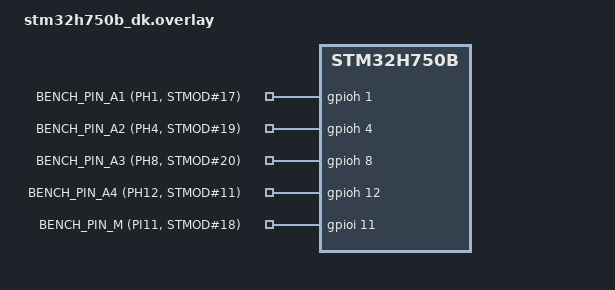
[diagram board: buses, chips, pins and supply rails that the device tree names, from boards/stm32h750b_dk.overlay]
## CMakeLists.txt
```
# SPDX-License-Identifier: Apache-2.0
#
# RTOS Benchmark - Zephyr port build script.
#
# Build profiles (ADR-011):
#   west build -b stm32h750b_dk benchmark_zephyr -d build/fair_perf \
#              --pristine -- -DEXTRA_CONF_FILE=conf/fair_perf.conf
#
#   west build -b stm32h750b_dk benchmark_zephyr -d build/realistic_tickless \
#              --pristine -- -DEXTRA_CONF_FILE=conf/realistic_tickless.conf

cmake_minimum_required(VERSION 3.20.0)

find_package(Zephyr REQUIRED HINTS $ENV{ZEPHYR_BASE})
project(benchmark_zephyr C)

# ---- Profile -> compile-time macro injection (ADR-011) --------------
if(CONFIG_BENCH_PROFILE_FAIR_PERF)
    set(BENCH_PROFILE_DEFINE BENCH_PROFILE_FAIR_PERF=1)
elseif(CONFIG_BENCH_PROFILE_REALISTIC_TICKLESS)
    set(BENCH_PROFILE_DEFINE BENCH_PROFILE_REALISTIC_TICKLESS=1)
elseif(CONFIG_BENCH_PROFILE_DEBUG_DEV)
    set(BENCH_PROFILE_DEFINE BENCH_PROFILE_DEBUG_DEV=1)
else()
    message(FATAL_ERROR
        "No build profile selected. Pass "
        "-DEXTRA_CONF_FILE=conf/fair_perf.conf, "
        "conf/realistic_tickless.conf or conf/debug_dev.conf "
        "to west build.")
endif()

# ---- Sources --------------------------------------------------------
set(REPO_ROOT ${CMAKE_CURRENT_SOURCE_DIR}/../..)

target_sources(app PRIVATE
    src/main.c
    src/test_ctxsw_irq.c
    src/test_thread_handoff.c
    src/test_mutex_uncontended.c
    src/test_mutex_pi.c
    # ADR-024: z_arm_on_enter_cpu_idle() suppresses WFI in idle for
    # fair_perf and debug_dev (parity with ChibiOS / FreeRTOS).
    # Defined unconditionally; referenced by the kernel only when
    # CONFIG_ARM_ON_ENTER_CPU_IDLE_HOOK=y.
    src/idle_policy.c
    ${REPO_ROOT}/common/dwt_cycle_counter.c
    ${REPO_ROOT}/common/benchmark_stats.c
    ${REPO_ROOT}/common/bench_button.c)

target_include_directories(app PRIVATE
    src
    ${REPO_ROOT}/common)

target_compile_definitions(app PRIVATE
    BENCH_RTOS_ZEPHYR
    ${BENCH_PROFILE_DEFINE})

# ---- ADR-009 cross-RTOS effective-flag contract ---------------------
# Lab-session bug fix 2026-05-14: Zephyr's default Kconfig + CMake
# flow does NOT pass -fomit-frame-pointer / -falign-functions=16 to
# the application sources. The C3 cflags_audit (cross-RTOS read-back
# of compile_commands.json) flagged this as a real ADR-009 violation
# on Zephyr only - ChibiOS and FreeRTOS already inject the flags via
# UDEFS / add_compile_options. Apply them explicitly here so the
# Zephyr app objects carry the same contract as the other two ports.
# Scoped to the `app` target only (Zephyr kernel / HAL stay
# untouched, which is also what ADR-009 says).
target_compile_options(app PRIVATE
    -fomit-frame-pointer
    -falign-functions=16)

# Optional: skip the B1 button gating between tests (ADR-016).
# Pass -DBENCH_AUTORUN=1 to west build, e.g.:
#     west build -b stm32h750b_dk benchmark_zephyr -p always \
#                -- -DEXTRA_CONF_FILE=conf/fair_perf.conf \
#                   -DBENCH_AUTORUN=1
# Default OFF (publishable flow uses B1 to avoid the LA-arm race).
option(BENCH_AUTORUN "Skip B1 button gating between tests" OFF)
if(BENCH_AUTORUN)
    target_compile_definitions(app PRIVATE BENCH_AUTORUN=1)
endif()
```

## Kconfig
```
# SPDX-License-Identifier: Apache-2.0
#
# Application-level Kconfig: declares the build profile selectors used
# by ADR-011. Selection happens via conf/<profile>.conf at build time.

mainmenu "RTOS Benchmark - Zephyr port"

config BENCH_PROFILE_FAIR_PERF
	bool "Build profile: fair_perf"
	default n
	select ARM_ON_ENTER_CPU_IDLE_HOOK
	help
	  Kernel-pure measurement profile (ADR-011 + ADR-024).
	  Tickless OFF, no PM. WFI in idle is suppressed via the
	  ARM_ON_ENTER_CPU_IDLE_HOOK callback (auto-selected here;
	  the Kconfig symbol is non-visible upstream, only settable
	  via select/imply from another Kconfig). The callback
	  `z_arm_on_enter_cpu_idle()` returns false in
	  src/idle_policy.c so arch_cpu_idle skips the WFI/WFE
	  instruction.

config BENCH_PROFILE_REALISTIC_TICKLESS
	bool "Build profile: realistic_tickless"
	default n
	help
	  Realistic low-power profile (ADR-011 + ADR-024).
	  Tickless ON, native WFI in idle via arch_cpu_idle (the
	  ARM_ON_ENTER_CPU_IDLE_HOOK is NOT selected here). No
	  Zephyr PM framework (PM has no ChibiOS/FreeRTOS analog
	  and would break "exactly identical" profile parity).

config BENCH_PROFILE_DEBUG_DEV
	bool "Build profile: debug_dev"
	default n
	select ARM_ON_ENTER_CPU_IDLE_HOOK
	help
	  Development-only profile (ADR-011). NOT for publication.
	  Same RTOS config as fair_perf (no tickless, no PM, no
	  WFI in idle via ARM_ON_ENTER_CPU_IDLE_HOOK auto-selected
	  here) but compiled at -Og -g3 for usable stepping.
	  Numbers from this profile must NOT be compared with
	  fair_perf / realistic_tickless.

source "Kconfig.zephyr"
```

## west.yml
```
# SPDX-License-Identifier: Apache-2.0
# West manifest per il benchmark Zephyr.
# Topologia T2: questo repo e' il manifest repository, importa Zephyr
# come dipendenza esterna.
# https://docs.zephyrproject.org/latest/develop/west/workspaces.html

manifest:
  remotes:
    - name: zephyrproject-rtos
      url-base: https://github.com/zephyrproject-rtos

  projects:
    - name: zephyr
      remote: zephyrproject-rtos
      revision: v4.4.0    # tested release; good STM32H7 support
      import: true        # importa anche tutti i moduli (HAL, CMSIS, ecc.)

  self:
    path: benchmark_zephyr
```

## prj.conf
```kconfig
# SPDX-License-Identifier: Apache-2.0
#
# Base Zephyr Kconfig for the rtos-benchmark project.
# Profile-specific overrides live in conf/<profile>.conf and are
# applied via -DEXTRA_CONF_FILE=conf/<profile>.conf at west build time.
#
# Hard rules per ADR-009: no asserts, no log, no PM, no thread monitor,
# no run-time stats, no tracing, no time slicing.

# ---- Scheduler / kernel ---------------------------------------------
# CONFIG_PREEMPT_ENABLED is derived: setting NUM_PREEMPT_PRIORITIES > 0
# is enough to enable preemption.
CONFIG_TIMESLICING=n
CONFIG_NUM_PREEMPT_PRIORITIES=8
CONFIG_SYS_CLOCK_TICKS_PER_SEC=1000

# Main thread = orchestrator/runner. Lowered from default 0 to 6 so
# that any bench thread (T1 target=2, T2 target=1, T4 H/M/L=3/4/5)
# is numerically lower (= higher priority in Zephyr) and can preempt
# main without depending on k_msleep gaps. Bug found in 2026-05-05
# review: at default main=0 (highest preemptible) k_thread_resume()
# in TEST 2 never preempted, target was starved, samples bogus.
CONFIG_MAIN_THREAD_PRIORITY=6

# ---- No debug / trace / stats (ADR-009 hard rule) -------------------
CONFIG_ASSERT=n
CONFIG_LOG=n
CONFIG_TRACING=n
CONFIG_THREAD_RUNTIME_STATS=n
CONFIG_THREAD_MONITOR=n
CONFIG_THREAD_NAME=n
CONFIG_STACK_SENTINEL=n
CONFIG_DEBUG=n

# ---- Power management OFF in fair_perf (overridden in realistic) ----
CONFIG_PM=n
CONFIG_PM_DEVICE=n

# ---- Drivers we use --------------------------------------------------
CONFIG_GPIO=y
CONFIG_SERIAL=y
CONFIG_UART_CONSOLE=y
CONFIG_PRINTK=y                 # used only outside the measured path
# TIM2 is driven directly by test_ctxsw_irq.c (strada A1 / ADR-014).
# The Zephyr counter / counter_timer_stm32 driver is NOT used.
# CONFIG_COUNTER intentionally OFF.

# ---- Optimisations --------------------------------------------------
CONFIG_SPEED_OPTIMIZATIONS=y    # -O2 (Zephyr does not expose -O3)
CONFIG_SIZE_OPTIMIZATIONS=n
CONFIG_LTO=n                    # ADR-009: LTO OFF in all profiles

# ---- FPU on (hard ABI; no FP in measured path by discipline) -------
CONFIG_FPU=y

# ---- Heap / stacks ---------------------------------------------------
CONFIG_MAIN_STACK_SIZE=4096
# ADR-022 (Codex round 1 IMP-2): reduced from 2048 to 512. No benchmark
# code submits work to the system workqueue (zero k_work_* references in
# benchmark_zephyr/ or common/). Zephyr at v4.4.0 does not expose a clean
# disable of the system workqueue thread; 512 is the minimum stack that
# still allows Zephyr's own startup-time housekeeping. Build verified
# green on fair_perf and realistic_tickless; .bss drops ~1.5 KB.
CONFIG_SYSTEM_WORKQUEUE_STACK_SIZE=512
# ADR-022 (Codex round 1 IMP-2): reduced from 8192 to 0. No benchmark
# code calls k_malloc/k_calloc/k_heap_*/sys_heap_*; the previous 8 KB
# pool was pure overhead carried from the Zephyr default project.
# Build verified green; .bss drops by ~8 KB.
CONFIG_HEAP_MEM_POOL_SIZE=0

# ---- Cache management exposed (ADR-010): we enable I+D in main.c ----
CONFIG_CACHE_MANAGEMENT=y
```

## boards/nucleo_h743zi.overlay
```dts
/*
 * Device tree overlay per benchmark Zephyr su NUCLEO-H743ZI2.
 *
 * Aggiunge alias per il pin di test (PB0) e per il timer usato nel
 * test T1 (TIM2). Il resto della configurazione viene dal board file
 * standard di Zephyr (boards/arm/nucleo_h743zi).
 */

/ {
    aliases {
        bench-led = &bench_pin;
    };

    bench_pin: bench_pin {
        compatible = "gpio-leds";
        gpios = <&gpiob 0 GPIO_ACTIVE_HIGH>;
        label = "Benchmark Test Pin (PB0)";
    };
};

/* TIM2 abilitato per il test T1 (IRQ wake-up) */
&timers2 {
    status = "okay";
    st,prescaler = <239>;     /* 240 MHz / 240 = 1 MHz timer clock */

    counter {
        status = "okay";
    };
};

/* USART3 e' gia' abilitato come console nel board file */
&usart3 {
    current-speed = <115200>;
};
```

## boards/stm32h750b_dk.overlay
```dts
/* SPDX-License-Identifier: Apache-2.0 */
/*
 * Copyright (C) 2025-2026  Chibilogic s.r.l. www.chibilogic.com
 *
 * Device-tree overlay for the rtos-benchmark project on STM32H750B-DK.
 *
 * The upstream board file already configures the 25 MHz HSE and the
 * 480 MHz SYSCLK clock chain (boards/st/stm32h750b_dk/
 * stm32h750b_dk-common.dtsi), so no clock overrides are required.
 *
 * What this overlay adds:
 *   - 5 software-driven GPIO pins on STMod+ P1 used as benchmark
 *     markers (ADR-007), exposed via aliases bench_pin_a1 .. a4 and
 *     bench_pin_m.
 *   - TIM2 left disabled at DT level: it is fully driven from C in
 *     test_ctxsw_irq.c (PWM mode 2 + CC1 IRQ, strada A1 per ADR-014).
 *   - PA0 (= A0_HW) is driven by TIM2 channel 1 (alternate function
 *     AF1) and is NOT exposed as a GPIO alias here. The pin setup
 *     and TIM2 register configuration are done from C code in
 *     test_ctxsw_irq.c.
 */

/ {
	aliases {
		bench-pin-a1 = &bench_pin_a1;
		bench-pin-a2 = &bench_pin_a2;
		bench-pin-a3 = &bench_pin_a3;
		bench-pin-a4 = &bench_pin_a4;
		bench-pin-m  = &bench_pin_m;
	};

	bench_pins {
		compatible = "gpio-leds";

		bench_pin_a1: bench_pin_a1 {
			gpios = <&gpioh 1  GPIO_ACTIVE_HIGH>;
			label = "BENCH_PIN_A1 (PH1, STMOD#17)";
		};
		bench_pin_a2: bench_pin_a2 {
			gpios = <&gpioh 4  GPIO_ACTIVE_HIGH>;
			label = "BENCH_PIN_A2 (PH4, STMOD#19)";
		};
		bench_pin_a3: bench_pin_a3 {
			gpios = <&gpioh 8  GPIO_ACTIVE_HIGH>;
			label = "BENCH_PIN_A3 (PH8, STMOD#20)";
		};
		bench_pin_a4: bench_pin_a4 {
			gpios = <&gpioh 12 GPIO_ACTIVE_HIGH>;
			label = "BENCH_PIN_A4 (PH12, STMOD#11)";
		};
		bench_pin_m: bench_pin_m {
			gpios = <&gpioi 11 GPIO_ACTIVE_HIGH>;
			label = "BENCH_PIN_M (PI11, STMOD#18)";
		};
	};
};

/* GPIOA is needed so PA0 can be configured as TIM2_CH1 alternate
 * function from test_ctxsw_irq.c. Zephyr enables the GPIO clock
 * automatically when the gpio node is "okay". */
&gpioa { status = "okay"; };
&gpioh { status = "okay"; };
&gpioi { status = "okay"; };

/* TIM2 is fully driven from C in test_ctxsw_irq.c (PWM mode 2 +
 * CC1 IRQ, strada A1 per ADR-014). The Zephyr counter driver
 * (CONFIG_COUNTER) is intentionally OFF in prj.conf, so no
 * Zephyr driver binds to the timers2 DT node and the TIM2 IRQ
 * vector is free for our IRQ_CONNECT() handler. The DT node
 * itself is left at its default state from the upstream board
 * file -- attempting to disable it explicitly with
 *   &timers2 { status = "disabled"; };
 * was avoided because the upstream stm32h750b_dk board may have
 * other binding consumers we have not audited. The peripheral
 * clock and reset are managed by us in bench_t1_setup via direct
 * RCC writes. */
```

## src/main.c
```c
/* SPDX-License-Identifier: Apache-2.0 */
/*
 * Copyright (C) 2025-2026  Chibilogic s.r.l. www.chibilogic.com
 */

/**
 * @file    main.c
 * @brief   Zephyr port main: cache, DWT, GPIO pins, banner, runs the
 *          4 benchmark tests in sequence.
 * @author  Edoardo Lombardi elombardi@chibilogic.com
 *
 * Mirrors the structure of the chibios/freertos main.c. The clock
 * chain (HSE 25 MHz -> SYSCLK 480 MHz) is already configured by the
 * upstream stm32h750b_dk board file at boot, so we do NOT touch it.
 */

#include <zephyr/kernel.h>
#include <zephyr/sys/printk.h>
#include <zephyr/devicetree.h>
#include <zephyr/drivers/gpio.h>
#include <zephyr/drivers/uart.h>
#include <soc.h>

#include "bench_pins.h"
#include "dwt_cycle_counter.h"
#include "benchmark_api.h"

/* Per-test sample buffers. 11000 samples * 4 B * 4 tests = 176 KB BSS. */
static bench_sample_t samples_t1[BENCH_TOTAL_ITERATIONS];
static bench_sample_t samples_t2[BENCH_TOTAL_ITERATIONS];
static bench_sample_t samples_t3[BENCH_TOTAL_ITERATIONS];
static bench_sample_t samples_t4[BENCH_TOTAL_ITERATIONS];

/* GPIO specs from the device-tree aliases declared in
 * boards/stm32h750b_dk.overlay. PA0 (= A0_HW) has no DT alias:
 * it is hardware-driven by TIM2 OC and configured as alternate
 * function AF1 inside test_ctxsw_irq.c::bench_t1_setup. */
const struct gpio_dt_spec bench_pin_a1 =
    GPIO_DT_SPEC_GET(BENCH_PIN_A1_NODE, gpios);
const struct gpio_dt_spec bench_pin_a2 =
    GPIO_DT_SPEC_GET(BENCH_PIN_A2_NODE, gpios);
const struct gpio_dt_spec bench_pin_a3 =
    GPIO_DT_SPEC_GET(BENCH_PIN_A3_NODE, gpios);
const struct gpio_dt_spec bench_pin_a4 =
    GPIO_DT_SPEC_GET(BENCH_PIN_A4_NODE, gpios);
const struct gpio_dt_spec bench_pin_m =
    GPIO_DT_SPEC_GET(BENCH_PIN_M_NODE,  gpios);

void bench_pins_init(void)
{
    gpio_pin_configure_dt(&bench_pin_a1, GPIO_OUTPUT_INACTIVE);
    gpio_pin_configure_dt(&bench_pin_a2, GPIO_OUTPUT_INACTIVE);
    gpio_pin_configure_dt(&bench_pin_a3, GPIO_OUTPUT_INACTIVE);
    gpio_pin_configure_dt(&bench_pin_a4, GPIO_OUTPUT_INACTIVE);
    gpio_pin_configure_dt(&bench_pin_m,  GPIO_OUTPUT_INACTIVE);

    /* USER button B1 = PC13 (ADR-016). Register-direct setup,
     * coherent with the PA0 / TIM2 init pattern in
     * test_ctxsw_irq.c: we don't want to depend on the Zephyr
     * GPIO/pinctrl scheme for a pin we only poll outside the
     * measured window. Configure as input with pull-down. */
    RCC->AHB4ENR |= RCC_AHB4ENR_GPIOCEN;
    GPIOC->MODER &= ~GPIO_MODER_MODE13;       /* MODE = 00 (input) */
    GPIOC->PUPDR  = (GPIOC->PUPDR & ~GPIO_PUPDR_PUPD13) |
                    (2U << GPIO_PUPDR_PUPD13_Pos);  /* 10 = pull-down */
}

/* putchar over the chosen zephyr,console (= USART3 on the board),
 * used by benchmark_stats.c. */
void bench_putchar(char c)
{
    /* printk routes to the chosen console; using putchar via printk
     * keeps the dependency on a single Zephyr facility. */
    printk("%c", c);
}

/* Idle delay used by bench_wait_user_start() between B1 polls. */
void bench_idle_delay_ms(uint32_t ms)
{
    k_msleep((int32_t)ms);
}

/* Cross-RTOS contract (ADR-020): benchmark console output must
 * not influence any DWT-measured window; the implementation is
 * intentionally port-specific. Verified in the generated build
 * .config: CONFIG_UART_INTERRUPT_DRIVEN unset + CONFIG_LOG=n ->
 * the printk console backend is polling/synchronous (no async
 * or IRQ UART work left pending), so a one-tick k_msleep
 * barrier satisfies the contract; end() has nothing to
 * restore. Emits nothing. */
void bench_measurement_begin(void)
{
    k_msleep(1);
}

void bench_measurement_end(void)
{
}

/*===========================================================================*/
/* FLASH_ACR workaround for the Zephyr port (ADR-018).                       */
/*===========================================================================*/

static void apply_flash_acr_workaround(void)
{
    /* STM32CubeH7 LL_SetFlashLatency() has no VOS0 branch for
     * STM32H7_DEV_ID == 0x450 (STM32H750/H743 family). Zephyr's
     * clock_stm32_ll_h7.c switches VOS to SCALE0 before calling
     * LL_SetFlashLatency(240 MHz), so the function falls through
     * to the SCALE3 path, finds no matching HCLK range, returns
     * ERROR and never writes FLASH_ACR. The register keeps the
     * boot-ROM value (LATENCY=2, WRHIGHFREQ=3 = 0x32 observed).
     *
     * Per RM0433 sec.4.3.8 + DS12550, the official setting for
     * VOS0 with HCLK <= 240 MHz is LATENCY=4, WRHIGHFREQ=3 (0x34).
     * ChibiOS and FreeRTOS HAL configure 0x34 through their own
     * routines; we force the same value here so the 3 RTOS ports
     * use identical FLASH timings (constraint #3 of CLAUDE.local).
     *
     * Safe to apply after the clock switch is complete: increasing
     * the wait-state count never causes a flash access violation. */
    uint32_t acr = FLASH->ACR;
    acr &= ~(FLASH_ACR_LATENCY | FLASH_ACR_WRHIGHFREQ);
    acr |=  FLASH_ACR_LATENCY_4WS |
            (3UL << FLASH_ACR_WRHIGHFREQ_Pos);
    FLASH->ACR = acr;
    __DSB();
    __ISB();
    (void)FLASH->ACR;   /* Read-back to commit before next access. */
}

/*===========================================================================*/
/* I+D cache ON (ADR-010).                                                  */
/*===========================================================================*/

static void cache_enable(void)
{
    /* ADR-010 + reviewer #13: idempotent. Zephyr's SoC layer may
     * have enabled the cache already; calling SCB_InvalidateDCache
     * unconditionally would discard any dirty lines (e.g. printk
     * buffer) and corrupt the very early boot output. */
    if ((SCB->CCR & SCB_CCR_IC_Msk) == 0U) {
        SCB_InvalidateICache();
        SCB_EnableICache();
    }
    if ((SCB->CCR & SCB_CCR_DC_Msk) == 0U) {
        SCB_InvalidateDCache();
        SCB_EnableDCache();
    }
}

/*===========================================================================*/
/* Test runner.                                                             */
/*===========================================================================*/

static void run_test(const char *name,
                     const char *metric,
                     void (*setup)(void),
                     void (*run)(bench_sample_t *),
                     bench_sample_t *samples,
                     uint32_t warmup,
                     uint32_t valid)
{
    setup();
    bench_measurement_begin();
    run(samples);
    bench_measurement_end();

    bench_stats_t stats;
    bench_compute_stats(&samples[warmup], valid, &stats);
    bench_print_stats(name, &stats);
    bench_print_csv(name, metric, samples, warmup, valid);
}

/*===========================================================================*/
/* main.                                                                    */
/*===========================================================================*/

int main(void)
{
    /* ADR-018: force FLASH_ACR = 0x34 before anything else. Zephyr's
     * clock init leaves it at 0x32 because of a CubeH7 LL bug for
     * DEV_ID=0x450 at VOS0. Applied first so cache enable, DWT init,
     * and the banner all see the corrected wait-state value. */
    apply_flash_acr_workaround();

    bench_snapshot_scb_ccr_before();
    cache_enable();
    dwt_init();
    bench_pins_init();

    bench_print_banner();

    /* ADR-017 memory placement audit. */
    bench_print_address_table_begin();
    bench_print_addr("samples_t1", samples_t1);
    bench_print_addr("samples_t2", samples_t2);
    bench_print_addr("samples_t3", samples_t3);
    bench_print_addr("samples_t4", samples_t4);
    bench_t1_print_addresses();
    bench_t2_print_addresses();
    bench_t3_print_addresses();
    bench_t4_print_addresses();
    bench_print_address_table_end();

    bench_print_csv_header();

    /* T1 special-cased: TIM2 state dump after setup and after run
     * (reviewer round-5 #3). Each test gated by B1 (ADR-016). */
    bench_wait_user_start("t1_irq");
    bench_t1_setup();
    bench_print_tim2_state("after_t1_setup");
    bench_measurement_begin();
    bench_t1_run(samples_t1);
    bench_measurement_end();
    bench_print_tim2_state("after_t1_run");
    {
        bench_stats_t stats;
        bench_compute_stats(&samples_t1[BENCH_WARMUP_ITERATIONS],
                            BENCH_VALID_ITERATIONS, &stats);
        bench_print_stats("t1_irq", &stats);
        bench_print_csv("t1_irq", "dwt_a4_minus_a1",
                        samples_t1,
                        BENCH_WARMUP_ITERATIONS, BENCH_VALID_ITERATIONS);
    }
    bench_wait_user_start("t2_handoff");
    run_test("t2_handoff",    "dwt_thread_to_thread",
             bench_t2_setup, bench_t2_run, samples_t2,
             BENCH_WARMUP_ITERATIONS, BENCH_VALID_ITERATIONS);
    bench_wait_user_start("t3_mtx_uncont");
    run_test("t3_mtx_uncont", "dwt_lock_unlock_pair",
             bench_t3_setup, bench_t3_run, samples_t3,
             BENCH_WARMUP_ITERATIONS, BENCH_VALID_ITERATIONS);
    bench_wait_user_start("t4_mtx_pi");
    run_test("t4_mtx_pi",     "dwt_low_unlock_to_high_acquire",
             bench_t4_setup, bench_t4_run, samples_t4,
             0U, BENCH_T4_RUNS);

    /* PI summary AFTER the T4 stats+CSV so the output stream is linear. */
    bench_print_t4_pi_summary("t4_mtx_pi", bench_t4_get_pi_ok(),
                              BENCH_T4_RUNS);

    printk("\r\n=== BENCHMARK COMPLETE ===\r\n");

    /* Idle loop: slow PH1 toggle to indicate "done". */
    while (1) {
        gpio_pin_toggle_dt(&bench_pin_a1);
        k_msleep(500);
    }

    return 0;
}
```

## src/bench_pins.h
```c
/* SPDX-License-Identifier: Apache-2.0 */
/*
 * Copyright (C) 2025-2026  Chibilogic s.r.l. www.chibilogic.com
 */

/**
 * @file    bench_pins.h
 * @brief   6 GPIO marker pins for the benchmark (ADR-007), Zephyr port.
 * @author  Edoardo Lombardi elombardi@chibilogic.com
 *
 * Identical mapping as ChibiOS / FreeRTOS ports (ADR-007 + ADR-014):
 *   PA0  STMOD#1   A0_HW (TIM2 CH1 PWM mode 2, hardware-driven)
 *   PH1  STMOD#17  A1 (ISR_ENTRY) / LOW_LOCK
 *   PH4  STMOD#19  A2 (wake start) / HIGH_WAIT
 *   PH8  STMOD#20  A3 (wake done = READY) / LOW_UNLOCK
 *   PH12 STMOD#11  A4 (RUNNING) / HIGH_ACQUIRE
 *   PI11 STMOD#18  MEDIUM_RUN (TEST 4 only)
 *
 * The 5 software pins are still declared via device-tree aliases in
 *   boards/stm32h750b_dk.overlay
 * so that bench_pins_init() can use the Zephyr GPIO driver to set
 * MODER/OSPEED at boot. Inside the measured path however the
 * BENCH_SET_xxx and BENCH_CLR_xxx macros write BSRR directly via CMSIS,
 * matching the ChibiOS and FreeRTOS ports exactly. This eliminates
 * the marker-overhead asymmetry that the gpio_pin_set_dt() function
 * call would otherwise introduce (~50 cycles vs ~3 cycles).
 *
 * PA0 has NO DT alias and NO software set/clear macro: it is driven
 * in hardware by TIM2 channel 1 (PWM mode 2 + CC1 IRQ, strada A1
 * per ADR-014). Its AF1 alternate-function configuration and the
 * TIM2 register setup are done in src/test_ctxsw_irq.c::
 * bench_t1_setup via direct register writes.
 */

#ifndef BENCH_PINS_H
#define BENCH_PINS_H

#include <zephyr/kernel.h>
#include <zephyr/devicetree.h>
#include <zephyr/drivers/gpio.h>
#include <soc.h>     /* CMSIS: GPIOH, GPIOI base addresses */

#define BENCH_PIN_A1_NODE   DT_ALIAS(bench_pin_a1)
#define BENCH_PIN_A2_NODE   DT_ALIAS(bench_pin_a2)
#define BENCH_PIN_A3_NODE   DT_ALIAS(bench_pin_a3)
#define BENCH_PIN_A4_NODE   DT_ALIAS(bench_pin_a4)
#define BENCH_PIN_M_NODE    DT_ALIAS(bench_pin_m)

extern const struct gpio_dt_spec bench_pin_a1;
extern const struct gpio_dt_spec bench_pin_a2;
extern const struct gpio_dt_spec bench_pin_a3;
extern const struct gpio_dt_spec bench_pin_a4;
extern const struct gpio_dt_spec bench_pin_m;

/**
 * @brief   Configure the 5 software marker pins via the Zephyr
 *          GPIO driver (DT spec bench_pin_a1..a4 + bench_pin_m),
 *          plus PA0 in alternate function AF1 (TIM2_CH1) via
 *          direct register writes. Idempotent; call once at
 *          startup.
 *
 * @init
 */
void bench_pins_init(void);

/* Direct-BSRR marker writes. Identical to the ChibiOS and FreeRTOS
 * ports (~3 cycles per call). bench_pins_init() still uses the
 * Zephyr DT/driver path so the pin direction/speed are set
 * coherently with the rest of the system. */
#define BENCH_SET_A1()      (GPIOH->BSRR = (1U << 1))
#define BENCH_CLR_A1()      (GPIOH->BSRR = (1U << (1 + 16)))
#define BENCH_SET_A2()      (GPIOH->BSRR = (1U << 4))
#define BENCH_CLR_A2()      (GPIOH->BSRR = (1U << (4 + 16)))
#define BENCH_SET_A3()      (GPIOH->BSRR = (1U << 8))
#define BENCH_CLR_A3()      (GPIOH->BSRR = (1U << (8 + 16)))
#define BENCH_SET_A4()      (GPIOH->BSRR = (1U << 12))
#define BENCH_CLR_A4()      (GPIOH->BSRR = (1U << (12 + 16)))
#define BENCH_SET_M()       (GPIOI->BSRR = (1U << 11))
#define BENCH_CLR_M()       (GPIOI->BSRR = (1U << (11 + 16)))

/* TEST 4 aliases. */
#define BENCH_SET_LOW_LOCK()        BENCH_SET_A1()
#define BENCH_CLR_LOW_LOCK()        BENCH_CLR_A1()
#define BENCH_SET_HIGH_WAIT()       BENCH_SET_A2()
#define BENCH_CLR_HIGH_WAIT()       BENCH_CLR_A2()
#define BENCH_SET_LOW_UNLOCK()      BENCH_SET_A3()
#define BENCH_CLR_LOW_UNLOCK()      BENCH_CLR_A3()
#define BENCH_SET_HIGH_ACQUIRE()    BENCH_SET_A4()
#define BENCH_CLR_HIGH_ACQUIRE()    BENCH_CLR_A4()
#define BENCH_SET_MEDIUM_RUN()      BENCH_SET_M()
#define BENCH_CLR_MEDIUM_RUN()      BENCH_CLR_M()

#endif /* BENCH_PINS_H */
```

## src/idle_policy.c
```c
/* SPDX-License-Identifier: Apache-2.0 */
/*
 * Copyright (C) 2025-2026  Chibilogic s.r.l. www.chibilogic.com
 */

/**
 * @file     idle_policy.c
 * @brief    Zephyr ARM idle-hook callback for ADR-024 WFI parity.
 * @author   Edoardo Lombardi elombardi@chibilogic.com
 *
 * @addtogroup BENCHMARK_ZEPHYR
 * @{
 */

/*===========================================================================*/
/* Driver local definitions.                                                 */
/*===========================================================================*/

/*
 * Zephyr v4.4.0 ARM Cortex-M idle path:
 *   kernel/idle.c::idle()              -> calls k_cpu_idle()
 *   arch/arm/core/cortex_m/cpu_idle.c::arch_cpu_idle()
 *     SLEEP_IF_ALLOWED(__WFI)
 *
 * SLEEP_IF_ALLOWED is gated by CONFIG_ARM_ON_ENTER_CPU_IDLE_HOOK:
 *   when y, arch_cpu_idle first calls z_arm_on_enter_cpu_idle();
 *   if that returns false, the WFI/WFE instruction is SKIPPED.
 *
 * Per ADR-024:
 *   - fair_perf / debug_dev: ARM_ON_ENTER_CPU_IDLE_HOOK=y in the
 *     per-profile conf; this callback returns false so the idle
 *     path busy-spins (parity with ChibiOS CORTEX_ENABLE_WFI_IDLE
 *     =FALSE and FreeRTOS configUSE_TICKLESS_IDLE=0).
 *   - realistic_tickless: ARM_ON_ENTER_CPU_IDLE_HOOK is absent in
 *     the per-profile conf; the symbol below is NEVER referenced by
 *     the kernel in that build, but is defined unconditionally so
 *     a profile flip does not require source-file edits.
 *
 * Codex PLAN_REVIEW round 6 (handoff
 * 2026-05-22-realistic-tickless-and-fair-perf-wfi-congruence-006)
 * blessed this approach as the supported Zephyr mechanism and the
 * only one that avoids modifying RTOS sources (CLAUDE.local.md
 * hard rule).
 */

/*===========================================================================*/
/* Driver exported variables.                                                */
/*===========================================================================*/

/*===========================================================================*/
/* Driver local types.                                                       */
/*===========================================================================*/

/*===========================================================================*/
/* Driver local variables and types.                                         */
/*===========================================================================*/

/*===========================================================================*/
/* Driver local functions.                                                   */
/*===========================================================================*/

/*===========================================================================*/
/* Driver interrupt handlers.                                                */
/*===========================================================================*/

/*===========================================================================*/
/* Driver exported functions.                                                */
/*===========================================================================*/

#include <stdbool.h>

/**
 * @brief   Zephyr ARM idle-entry hook: refuse WFI/WFE.
 * @details Called by `arch_cpu_idle()` on Cortex-M when
 *          `CONFIG_ARM_ON_ENTER_CPU_IDLE_HOOK=y` is selected.
 *          Returning `false` makes `arch_cpu_idle` skip the
 *          `__WFI()` / `__WFE()` instruction so the idle thread
 *          busy-spins. This is the ADR-024 mechanism to bring
 *          Zephyr `fair_perf` and `debug_dev` to parity with
 *          ChibiOS `CORTEX_ENABLE_WFI_IDLE=FALSE` and FreeRTOS
 *          `configUSE_TICKLESS_IDLE=0`.
 *
 * @note    The function is defined unconditionally so a future
 *          profile flip does not require touching this source
 *          file; the symbol is referenced by the kernel only when
 *          the hook Kconfig is enabled.
 *
 * @return  Always `false` (skip WFI).
 *
 * @api
 */
bool z_arm_on_enter_cpu_idle(void) {

    return false;
}

/** @} */
```

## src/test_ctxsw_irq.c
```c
/* SPDX-License-Identifier: Apache-2.0 */
/*
 * Copyright (C) 2025-2026  Chibilogic s.r.l. www.chibilogic.com
 */

/**
 * @file    test_ctxsw_irq.c
 * @brief   TEST 1 - IRQ -> thread latency (Zephyr), strada A1.
 * @author  Edoardo Lombardi elombardi@chibilogic.com
 *
 * Zephyr equivalent of the ChibiOS chThdSuspendS / chThdResumeI
 * pattern:
 *   target  : k_sem_take(&sem, K_FOREVER)
 *   ISR     : k_sem_give(&sem)
 *
 * Strada A1 setup (refined 2026-05-05): TIM2 channel 1 in PWM mode 2
 * + CC1 interrupt as wakeup source. PA0 (alternate function AF1)
 * goes HIGH at the same compare match that fires the CC1 IRQ.
 *
 *   PSC=239, ARR=999  -> 1 kHz period at 1 us resolution
 *   CCR1=1            -> rising edge 1 us into each period
 *   CCMR1: OC1M=PWM2, OC1PE=1
 *   CCER : CC1E=1, polarity high
 *   DIER : CC1IE=1, UIE=0
 *
 * 6 marker pins (ADR-007 / ADR-014):
 *   A0_HW (PA0)  -> HW rising edge at the CC1 match (= IRQ instant)
 *   A1 (PH1)     -> first instruction of the ISR (ISR_ENTRY)
 *   A2 (PH4)     -> just before k_sem_give (wake primitive START)
 *   A3 (PH8)     -> just after k_sem_give (READY proxy, A6 fix)
 *   A4 (PH12)    -> first instruction of the resumed thread (RUNNING)
 *
 * One DWT delta saved per iteration: t_running - t_isr_entry
 * (= software equivalent of LA's A4 - A1).
 *
 * Implementation: TIM2 is fully driven via CMSIS register writes;
 * the Zephyr counter driver is disabled (overlay) so the TIM2 IRQ
 * vector is free for our IRQ_CONNECT() handler.
 */

#include <zephyr/kernel.h>
#include <zephyr/devicetree.h>
#include <zephyr/irq.h>
#include <soc.h>
#include "bench_pins.h"
#include "dwt_cycle_counter.h"
#include "benchmark_api.h"

static struct k_sem bench_sem;
static struct k_sem completion_sem;
static struct k_sem target_ready_sem;
static volatile uint32_t t_isr_entry;
static volatile uint32_t sample_idx;
static bench_sample_t   *current_samples;
static volatile bool     test_done;

#define BENCH_THREAD_STACK_SIZE 2048
#define BENCH_THREAD_PRIORITY   2     /* high prio (lower numeric) */

K_THREAD_STACK_DEFINE(bench_thread_stack, BENCH_THREAD_STACK_SIZE);
static struct k_thread bench_thread_data;

/*===========================================================================*/
/* TIM2 IRQ handler (CC1 source, strada A1).                                */
/*===========================================================================*/

static void tim2_isr(const void *arg)
{
    ARG_UNUSED(arg);

    /* PA0 (= A0_HW) was set HIGH in HARDWARE by TIM2 OC at the same
     * CC1 match that triggered this IRQ. We do NOT touch PA0. */

    /* A1 = ISR_ENTRY: first software-visible instant. */
    BENCH_SET_A1();
    t_isr_entry = dwt_get_cycles();

    /* Clear the CC1 flag. */
    TIM2->SR = ~TIM_SR_CC1IF;

    /* A2 = before wake primitive. */
    BENCH_SET_A2();

    k_sem_give(&bench_sem);

    /* A3 = READY proxy: SET right after k_sem_give returns, before
     * the implicit ISR exit so the marker isolates the wake primitive
     * cost (ADR-014 A6 fix). */
    BENCH_SET_A3();
}

/*===========================================================================*/
/* Target thread.                                                           */
/*===========================================================================*/

static void bench_thread(void *p1, void *p2, void *p3)
{
    ARG_UNUSED(p1); ARG_UNUSED(p2); ARG_UNUSED(p3);

    /* Symmetry with the ChibiOS port (where the handshake is
     * mandatory): signal "I am about to block" before the first
     * k_sem_take. The runner waits before starting TIM2. */
    k_sem_give(&target_ready_sem);

    while (!test_done) {
        if (k_sem_take(&bench_sem, K_FOREVER) == 0) {
            /* A4 = RUNNING. */
            BENCH_SET_A4();
            uint32_t now   = dwt_get_cycles();
            uint32_t delta = dwt_diff(t_isr_entry, now);

            /* Reset software markers (PA0/A0_HW is HW-driven). */
            BENCH_CLR_A1();
            BENCH_CLR_A2();
            BENCH_CLR_A3();
            BENCH_CLR_A4();

            if (sample_idx < BENCH_TOTAL_ITERATIONS) {
                current_samples[sample_idx].cycles = delta;
                sample_idx++;
            }
            if (sample_idx >= BENCH_TOTAL_ITERATIONS) {
                /* Stop TIM2 from thread context BEFORE leaving the
                 * loop so no further IRQ can fire on a target that
                 * is about to suspend. Order: stop counter, stop
                 * output, disable IRQ source. */
                TIM2->CR1   &= ~TIM_CR1_CEN;
                TIM2->CCER  &= ~TIM_CCER_CC1E;
                TIM2->DIER   = 0U;
                test_done = true;
                k_sem_give(&completion_sem);
                /* Suspend self forever to keep the thread object
                 * valid in case one pending IRQ still vectors
                 * before bench_t1_run disables the NVIC line. */
                k_thread_suspend(k_current_get());
            }
        }
    }
}

/*===========================================================================*/
/* PA0 = TIM2_CH1 alternate function setup (register-direct).               */
/*===========================================================================*/

static void pa0_af1_setup(void)
{
    /* Ensure GPIOA clock is on (overlay sets &gpioa "okay" but we
     * keep the bit explicit for safety). */
    RCC->AHB4ENR |= RCC_AHB4ENR_GPIOAEN;

    /* PA0 -> alternate function (MODER bits [1:0] = 0b10). */
    GPIOA->MODER = (GPIOA->MODER & ~GPIO_MODER_MODE0) |
                   (2U << GPIO_MODER_MODE0_Pos);

    /* PA0 -> AF1 (TIM2_CH1) in AFRL. */
    GPIOA->AFR[0] = (GPIOA->AFR[0] & ~(0xFU << 0)) | (1U << 0);

    /* PA0 OSPEED = very high (3). */
    GPIOA->OSPEEDR = (GPIOA->OSPEEDR & ~GPIO_OSPEEDR_OSPEED0) |
                     (3U << GPIO_OSPEEDR_OSPEED0_Pos);

    /* PA0 push-pull, no pull. */
    GPIOA->OTYPER &= ~GPIO_OTYPER_OT0;
    GPIOA->PUPDR  &= ~GPIO_PUPDR_PUPD0;
}

/*===========================================================================*/
/* TIM2 setup (PWM mode 2 + CC1 IRQ, strada A1).                            */
/*===========================================================================*/

static void tim2_setup(void)
{
    /* Enable TIM2 clock + reset. */
    RCC->APB1LENR |= RCC_APB1LENR_TIM2EN;
    RCC->APB1LRSTR |= RCC_APB1LRSTR_TIM2RST;
    RCC->APB1LRSTR &= ~RCC_APB1LRSTR_TIM2RST;

    TIM2->CR1 = 0U;

    TIM2->PSC  = 239U;
    TIM2->ARR  = 999U;
    TIM2->CCR1 = 1U;

    /* CCMR1: CH1 output, PWM mode 2 (OC1M=0b111), preload enabled. */
    TIM2->CCMR1 = (TIM2->CCMR1 & ~(TIM_CCMR1_OC1M | TIM_CCMR1_CC1S |
                                   TIM_CCMR1_OC1PE)) |
                  (7U << TIM_CCMR1_OC1M_Pos) |
                  TIM_CCMR1_OC1PE;

    /* CCER: enable CH1 output, polarity high. */
    TIM2->CCER = (TIM2->CCER & ~TIM_CCER_CC1P) | TIM_CCER_CC1E;

    /* Latch preload via UG. */
    TIM2->EGR = TIM_EGR_UG;
    TIM2->SR  = 0U;

    /* Enable CC1 IRQ only. */
    TIM2->DIER = TIM_DIER_CC1IE;
}

/*===========================================================================*/
/* Public API.                                                              */
/*===========================================================================*/

void bench_t1_setup(void)
{
    k_sem_init(&bench_sem, 0, 1);
    k_sem_init(&completion_sem, 0, 1);
    k_sem_init(&target_ready_sem, 0, 1);
    sample_idx = 0;
    test_done  = false;

    k_thread_create(&bench_thread_data, bench_thread_stack,
                    K_THREAD_STACK_SIZEOF(bench_thread_stack),
                    bench_thread, NULL, NULL, NULL,
                    BENCH_THREAD_PRIORITY, 0, K_NO_WAIT);

    /* Block until the bench thread has reached its first
     * k_sem_take. Symmetry with the ChibiOS port. */
    k_sem_take(&target_ready_sem, K_FOREVER);

    pa0_af1_setup();
    tim2_setup();

    /* IRQ_CONNECT must stay inside a function in Zephyr 4.4: the
     * macro expands to compound-statement code with both compile-
     * time .intList section data and a runtime branch, which
     * cannot live at file scope (verified by the round-5 build
     * attempt: "expected identifier or '(' before '{' token").
     * Priority 7 = uniform across ChibiOS / FreeRTOS / Zephyr
     * ports per reviewer round-5 #1. */
    IRQ_CONNECT(TIM2_IRQn, 7, tim2_isr, NULL, 0);
    irq_enable(TIM2_IRQn);
}

void bench_t1_print_addresses(void)
{
    bench_print_addr("t1_thread_data",  &bench_thread_data);
    bench_print_addr("t1_thread_stack", bench_thread_stack);
    bench_print_addr("t1_bench_sem",    &bench_sem);
    bench_print_addr("t1_completion",   &completion_sem);
    bench_print_addr("t1_target_ready", &target_ready_sem);
    bench_print_addr("t1_t_isr_entry",  (const void *)&t_isr_entry);
}

void bench_t1_run(bench_sample_t *samples)
{
    current_samples = samples;
    sample_idx      = 0;
    test_done       = false;

    /* Start the timer: PA0 starts pulsing and CC1 IRQs start firing. */
    TIM2->CR1 |= TIM_CR1_CEN;

    /* Block until the bench thread has collected all samples AND has
     * stopped TIM2 from its own context. No 50 ms polling window in
     * which the timer could keep firing on a dying target. */
    k_sem_take(&completion_sem, K_FOREVER);

    irq_disable(TIM2_IRQn);
}
```

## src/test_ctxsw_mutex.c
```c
/**
 * @file    test_ctxsw_mutex.c
 * @brief   T2 — Context switch via mutex contention (Zephyr).
 *
 * Equivalente Zephyr del test ChibiOS/FreeRTOS, usando k_mutex
 * (priority inheritance abilitato di default in Zephyr).
 */

#include <zephyr/kernel.h>
#include <zephyr/drivers/gpio.h>
#include "dwt_cycle_counter.h"
#include "benchmark_api.h"

#define BENCH_LED_NODE DT_ALIAS(bench_led)
static const struct gpio_dt_spec bench_pin =
    GPIO_DT_SPEC_GET(BENCH_LED_NODE, gpios);

static struct k_mutex bench_mtx;
static struct k_sem   high_done_sem;
static struct k_sem   low_go_sem;

static volatile uint32_t low_release_timestamp;
static volatile uint32_t sample_idx;
static bench_sample_t   *current_samples;
static volatile bool     test_done;

#define HIGH_STACK_SIZE 2048
#define LOW_STACK_SIZE  2048
#define HIGH_PRIORITY   2    /* alta */
#define LOW_PRIORITY    8    /* bassa (numero piu' alto = priorita' minore) */

K_THREAD_STACK_DEFINE(high_stack, HIGH_STACK_SIZE);
K_THREAD_STACK_DEFINE(low_stack, LOW_STACK_SIZE);
static struct k_thread high_thread_data, low_thread_data;

static void high_thread(void *p1, void *p2, void *p3)
{
    ARG_UNUSED(p1); ARG_UNUSED(p2); ARG_UNUSED(p3);

    while (!test_done) {
        k_mutex_lock(&bench_mtx, K_FOREVER);

        uint32_t now = dwt_get_cycles();
        uint32_t delta = dwt_diff(low_release_timestamp, now);

        gpio_pin_toggle_dt(&bench_pin);

        if (sample_idx < BENCH_ITERATIONS) {
            current_samples[sample_idx++].cycles = delta;
        } else {
            test_done = true;
        }

        k_mutex_unlock(&bench_mtx);
        k_sem_give(&high_done_sem);

        if (test_done) break;
    }
}

static void low_thread(void *p1, void *p2, void *p3)
{
    ARG_UNUSED(p1); ARG_UNUSED(p2); ARG_UNUSED(p3);

    while (!test_done) {
        k_sem_take(&low_go_sem, K_FOREVER);
        if (test_done) break;

        k_mutex_lock(&bench_mtx, K_FOREVER);

        /* Finestra ~50 us per dare a HIGH la chance di mettersi in attesa */
        k_busy_wait(50);

        low_release_timestamp = dwt_get_cycles();
        k_mutex_unlock(&bench_mtx);

        k_sem_take(&high_done_sem, K_FOREVER);
    }
}

void bench_t2_setup(void)
{
    k_mutex_init(&bench_mtx);
    k_sem_init(&high_done_sem, 0, 1);
    k_sem_init(&low_go_sem, 0, 1);

    sample_idx = 0;
    test_done = false;

    k_thread_create(&high_thread_data, high_stack,
                    K_THREAD_STACK_SIZEOF(high_stack),
                    high_thread, NULL, NULL, NULL,
                    HIGH_PRIORITY, 0, K_NO_WAIT);
    k_thread_name_set(&high_thread_data, "bench_high");

    k_thread_create(&low_thread_data, low_stack,
                    K_THREAD_STACK_SIZEOF(low_stack),
                    low_thread, NULL, NULL, NULL,
                    LOW_PRIORITY, 0, K_NO_WAIT);
    k_thread_name_set(&low_thread_data, "bench_low");
}

void bench_t2_run(bench_sample_t *samples)
{
    current_samples = samples;
    sample_idx = 0;
    test_done = false;

    while (!test_done) {
        k_sem_give(&low_go_sem);
        k_msleep(1);
    }
}
```

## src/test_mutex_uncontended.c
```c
/* SPDX-License-Identifier: Apache-2.0 */
/*
 * Copyright (C) 2025-2026  Chibilogic s.r.l. www.chibilogic.com
 */

/**
 * @file    test_mutex_uncontended.c
 * @brief   TEST 3 - Mutex uncontended lock/unlock (Zephyr).
 * @author  Edoardo Lombardi elombardi@chibilogic.com
 *
 * Zephyr equivalent of rt_test_012_011 (chMtxLock/chMtxUnlock):
 *   k_mutex_init + k_mutex_lock/k_mutex_unlock in a loop, single thread.
 *
 * DWT primary (ADR-015), 1 marker on PH1.
 *
 * NOTE on DWT overhead (reviewer round-5 #4 / ADR-013): each
 * sample includes ONE pair of dwt_get_cycles() reads (start +
 * end), ~3 cycles total. We do NOT subtract the overhead from
 * the published cycles -- the post-processor decides. The
 * banner reports the calibrated DWT overhead.
 */

#include <zephyr/kernel.h>
#include "bench_pins.h"
#include "dwt_cycle_counter.h"
#include "benchmark_api.h"

static struct k_mutex mtx;

void bench_t3_setup(void)
{
    k_mutex_init(&mtx);
}

void bench_t3_print_addresses(void)
{
    bench_print_addr("t3_mtx", &mtx);
}

void bench_t3_run(bench_sample_t *samples)
{
    for (uint32_t i = 0; i < BENCH_TOTAL_ITERATIONS; i++) {
        BENCH_SET_A1();
        uint32_t t_start = dwt_get_cycles();

        k_mutex_lock(&mtx, K_FOREVER);
        k_mutex_unlock(&mtx);

        uint32_t t_end = dwt_get_cycles();
        BENCH_CLR_A1();

        samples[i].cycles = dwt_diff(t_start, t_end);
    }
}
```

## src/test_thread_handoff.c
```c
/* SPDX-License-Identifier: Apache-2.0 */
/*
 * Copyright (C) 2025-2026  Chibilogic s.r.l. www.chibilogic.com
 */

/**
 * @file    test_thread_handoff.c
 * @brief   TEST 2 - Thread handoff latency (Zephyr).
 * @author  Edoardo Lombardi elombardi@chibilogic.com
 *
 * Zephyr equivalent of rt_test_012_004 (chSchGoSleepS+chSchWakeupS):
 *   target  : k_thread_suspend(k_current_get())
 *   tester  : k_thread_resume(target_tid)
 *
 * DWT primary (ADR-015), 1 marker on PH1.
 */

#include <zephyr/kernel.h>
#include "bench_pins.h"
#include "dwt_cycle_counter.h"
#include "benchmark_api.h"

static volatile uint32_t handoff_t_send;
static volatile uint32_t sample_idx;
static bench_sample_t   *current_samples;
static volatile bool     run_flag;

#define TARGET_STACK_SIZE   2048
#define TARGET_PRIORITY     1     /* high prio (lower numeric > main) */

K_THREAD_STACK_DEFINE(target_stack, TARGET_STACK_SIZE);
static struct k_thread target_data;
static k_tid_t          target_tid;
static struct k_sem     target_ready_sem;

static void target_thread(void *p1, void *p2, void *p3)
{
    ARG_UNUSED(p1); ARG_UNUSED(p2); ARG_UNUSED(p3);

    /* Symmetry with T1: signal "I am about to suspend" before
     * the first k_thread_suspend(self). */
    k_sem_give(&target_ready_sem);

    while (run_flag) {
        k_thread_suspend(k_current_get());

        uint32_t now   = dwt_get_cycles();
        uint32_t delta = dwt_diff(handoff_t_send, now);
        BENCH_CLR_A1();

        if (sample_idx < BENCH_TOTAL_ITERATIONS) {
            current_samples[sample_idx].cycles = delta;
            sample_idx++;
        }
        if (sample_idx >= BENCH_TOTAL_ITERATIONS) {
            run_flag = false;
        }
    }
}

void bench_t2_setup(void)
{
    handoff_t_send = 0;
    sample_idx     = 0;
    run_flag       = true;
    k_sem_init(&target_ready_sem, 0, 1);

    target_tid = k_thread_create(&target_data, target_stack,
                                 K_THREAD_STACK_SIZEOF(target_stack),
                                 target_thread, NULL, NULL, NULL,
                                 TARGET_PRIORITY, 0, K_NO_WAIT);

    /* Block until the target has reached its first
     * k_thread_suspend(self). Replaces the previous "let it
     * run, then suspend itself" sleep-based assumption. */
    k_sem_take(&target_ready_sem, K_FOREVER);
}

void bench_t2_print_addresses(void)
{
    bench_print_addr("t2_target_data",   &target_data);
    bench_print_addr("t2_target_stack",  target_stack);
    bench_print_addr("t2_target_ready",  &target_ready_sem);
    bench_print_addr("t2_handoff_t_send", (const void *)&handoff_t_send);
}

void bench_t2_run(bench_sample_t *samples)
{
    current_samples = samples;
    sample_idx      = 0;
    run_flag        = true;

    while (sample_idx < BENCH_TOTAL_ITERATIONS) {
        BENCH_SET_A1();
        handoff_t_send = dwt_get_cycles();
        k_thread_resume(target_tid);
        /* Target has higher prio than the main thread, so resume
         * preempts immediately. When target re-suspends, control
         * returns here. */
    }
}
```
